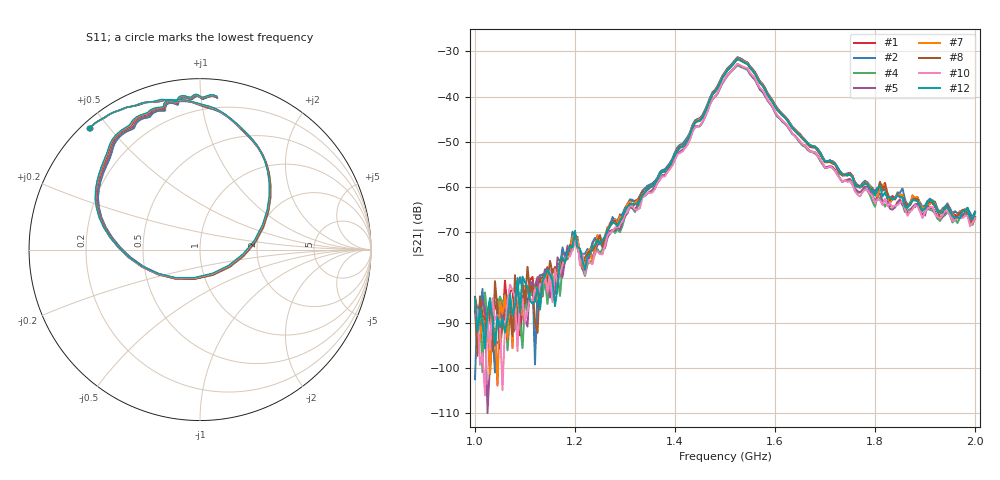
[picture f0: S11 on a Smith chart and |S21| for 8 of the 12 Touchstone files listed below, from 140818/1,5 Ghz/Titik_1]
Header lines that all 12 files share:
# Hz S RI R 50
! CMT, C1220, 16058040, 17.2.0/1
! Data: Format (Calibration Info)
! Freq  S11: Re/Im (F2)  S21: Re/Im (F2)  S12: Re/Im (F2)  S22: Re/Im (F2)
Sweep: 1 GHz to 2 GHz
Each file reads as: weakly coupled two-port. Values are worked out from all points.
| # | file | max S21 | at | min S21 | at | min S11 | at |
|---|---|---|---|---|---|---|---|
| 1 | Sudut_10_Titik_1.s2p | -31.33 dB | 1.525 GHz | -93.8 dB | 1.025 GHz | -15.7 dB | 1.53 GHz |
| 2 | Sudut_20_Titik_1.s2p | -31.30 dB | 1.525 GHz | -102.5 dB | 1 GHz | -15.7 dB | 1.53 GHz |
| 3 | Sudut_90_Titik_1.s2p | -33.17 dB | 1.525 GHz | -111.0 dB | 1.005 GHz | -15.4 dB | 1.53 GHz |
| 4 | Sudut_100_Titik_1.s2p | -33.06 dB | 1.525 GHz | -100.9 dB | 1.015 GHz | -15.5 dB | 1.53 GHz |
| 5 | Sudut_110_Titik_1.s2p | -32.80 dB | 1.525 GHz | -109.9 dB | 1.025 GHz | -15.7 dB | 1.53 GHz |
| 6 | Sudut_130_Titik_1.s2p | -32.33 dB | 1.525 GHz | -100.5 dB | 1.085 GHz | -15.9 dB | 1.53 GHz |
| 7 | Sudut_190_Titik_1.s2p | -31.51 dB | 1.525 GHz | -103.9 dB | 1.045 GHz | -15.7 dB | 1.53 GHz |
| 8 | Sudut_200_Titik_1.s2p | -31.68 dB | 1.525 GHz | -97.3 dB | 1.005 GHz | -15.6 dB | 1.53 GHz |
| 9 | Sudut_230_Titik_1.s2p | -32.65 dB | 1.525 GHz | -97.4 dB | 1.115 GHz | -15.4 dB | 1.53 GHz |
| 10 | Sudut_280_Titik_1.s2p | -32.74 dB | 1.525 GHz | -106.1 dB | 1.02 GHz | -15.9 dB | 1.53 GHz |
| 11 | Sudut_310_Titik_1.s2p | -32.70 dB | 1.525 GHz | -102.6 dB | 1.015 GHz | -16.1 dB | 1.53 GHz |
| 12 | Sudut_350_Titik_1.s2p | -31.72 dB | 1.525 GHz | -95.6 dB | 1.02 GHz | -16.1 dB | 1.53 GHz |
